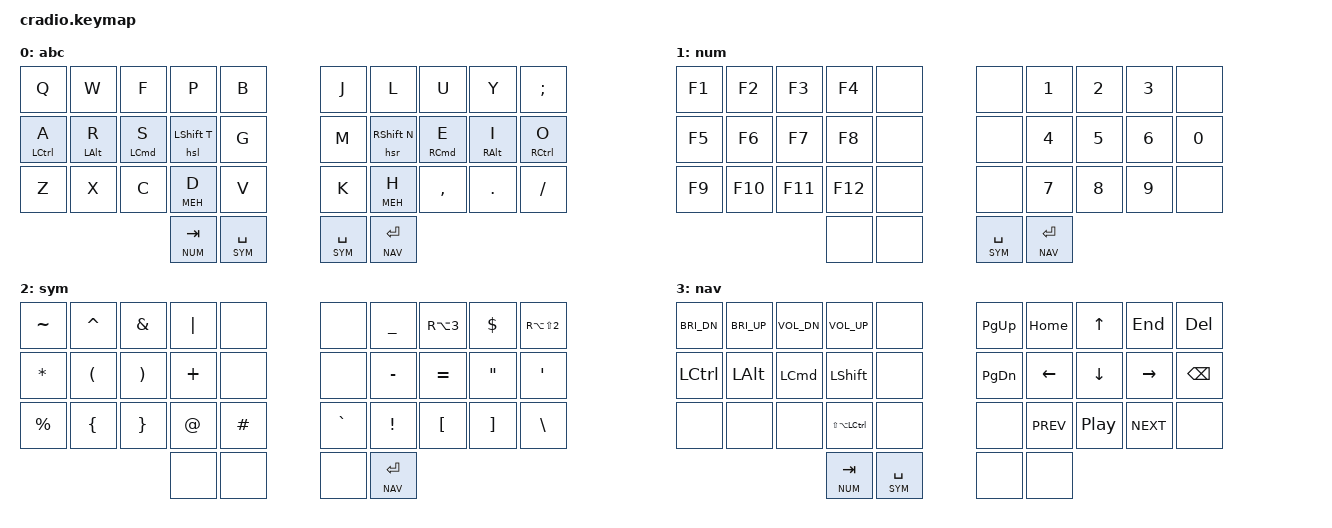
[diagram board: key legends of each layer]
#include <behaviors.dtsi>
#include <dt-bindings/zmk/keys.h>

/*
 *  ╭─────────────────────┬────────────────────╮
 *  │  0   1   2   3   4  │  5   6   7   8   9 │
 *  │ 10  11  12  13  14  │ 15  16  17  18  19 │
 *  │ 20  21  22  23  24  │ 25  26  27  28  29 │
 *  ╰───────────╮ 30  31  │ 32  33 ╭───────────╯
 *              ╰─────────┴────────╯
 */

#define LHS 0  1  2  3  4  \
            10 11 12 13 14 \
            20 21 22 23 24
#define RHS 5  6  7  8  9  \
            15 16 17 18 19 \
            25 26 27 28 29
#define TMB 30 31 32 33

#define DEFINE_HRM(_label, _name, _hold, _tap, _triggers, ...)  \
    _label: _name {                                             \
      compatible = "zmk,behavior-hold-tap";                     \
      #binding-cells = <2>;                                     \
      flavor = "balanced";                                      \
      tapping-term-ms = <200>;                                  \
      quick-tap-ms = <175>;                                     \
      bindings = <_hold>, <_tap>;                               \
      hold-trigger-key-positions = <_triggers>;                 \
      hold-trigger-on-release;                                  \
      __VA_ARGS__                                               \
    }

#define ___ &none

#define ABC 0
#define NUM 1
#define SYM 2
#define NAV 3

#define POUND &kp RA(N3)
#define EURO  &kp RA(LS(N2))

#define MEH LS(LA(LCTRL))

#define LCTRL_A &hml LCTRL A
#define LALT_R  &hml LALT  R
#define LCMD_S  &hml LCMD  S
#define LSHFT_T &hsl LSHFT T
#define MEH_D   &hml MEH   D

#define MEH_H   &hmr MEH   H
#define RSHFT_N &hsr RSHFT N
#define RCMD_E  &hmr RCMD  E
#define RALT_I  &hmr RALT  I
#define RCTRL_O &hmr RCTRL O

#define NUM_TAB   &lt NUM TAB
#define SYM_SPACE &lt SYM SPACE
#define NAV_RET   &lt NAV RET

&lt {
    flavor = "balanced";
    tapping-term-ms = <175>;
};

&caps_word {
    continue-list = <UNDER MINUS BSPC DEL>;
};

/ {
    combos {
        compatible = "zmk,combos";

        combo_esc {
            bindings = <&kp ESC>;
            key-positions = <1 2>;
            layers = <ABC>;
            timeout-ms = <50>;
            require-prior-idle-ms = <100>;
        };

        combo_caps_word {
            bindings = <&caps_word>;
            key-positions = <7 8>;
            layers = <ABC>;
            timeout-ms = <50>;
            require-prior-idle-ms = <100>;
        };

        combo_mute {
            bindings = <&kp C_MUTE>;
            key-positions = <2 3>;
            layers = <NAV>;
            timeout-ms = <50>;
            require-prior-idle-ms = <100>;
        };
    };

    keymap {
        compatible = "zmk,keymap";

        abc_layer {
            display-name = "abc";
            bindings = <
    &kp Q        &kp W        &kp F        &kp P        &kp B        &kp J     &kp L        &kp U      &kp Y        &kp SEMI
    LCTRL_A      LALT_R       LCMD_S       LSHFT_T      &kp G        &kp M     RSHFT_N      RCMD_E     RALT_I       RCTRL_O
    &kp Z        &kp X        &kp C        MEH_D        &kp V        &kp K     MEH_H        &kp COMMA  &kp DOT      &kp FSLH
                                           NUM_TAB      SYM_SPACE    SYM_SPACE NAV_RET
            >;
        };

        num_layer {
            display-name = "num";
            bindings = <
    &kp F1       &kp F2       &kp F3       &kp F4       ___          ___       &kp N1       &kp N2     &kp N3       ___
    &kp F5       &kp F6       &kp F7       &kp F8       ___          ___       &kp N4       &kp N5     &kp N6       &kp N0
    &kp F9       &kp F10      &kp F11      &kp F12      ___          ___       &kp N7       &kp N8     &kp N9       ___
                                           ___          ___          SYM_SPACE NAV_RET
            >;
        };

        sym_layer {
            display-name = "sym";
            bindings = <
    &kp TILDE    &kp CARET    &kp AMPS     &kp PIPE     ___          ___       &kp UNDER    POUND      &kp DLLR     EURO
    &kp STAR     &kp LPAR     &kp RPAR     &kp PLUS     ___          ___       &kp MINUS    &kp EQUAL  &kp DQT      &kp SQT
    &kp PRCNT    &kp LBRC     &kp RBRC     &kp AT       &kp HASH     &kp GRAVE &kp EXCL     &kp LBKT   &kp RBKT     &kp BSLH
                                           ___          ___          ___       NAV_RET
            >;
        };

        nav_layer {
            display-name = "nav";
            bindings = <
    &kp C_BRI_DN &kp C_BRI_UP &kp C_VOL_DN &kp C_VOL_UP ___          &kp PG_UP &kp HOME     &kp UP     &kp END      &kp DEL
    &kp LCTRL    &kp LALT     &kp LCMD     &kp LSHFT    ___          &kp PG_DN &kp LEFT     &kp DOWN   &kp RIGHT    &kp BSPC
    ___          ___          ___          &kp MEH      ___          ___       &kp C_PREV   &kp C_PP   &kp C_NEXT   ___
                                           NUM_TAB      SYM_SPACE    ___       ___
            >;
        };
    };

    behaviors {
        // homerow mods that are NOT the shift key
        DEFINE_HRM(hml, home_row_mod_left, &kp, &kp, RHS TMB,
            require-prior-idle-ms = <100>;
        );

        DEFINE_HRM(hmr, home_row_mod_right, &kp, &kp, LHS TMB,
            require-prior-idle-ms = <100>;
        );

        // homerow mods that ARE the shift key
        DEFINE_HRM(hsl, home_row_mod_for_shift_left, &kp, &kp, RHS TMB);
        DEFINE_HRM(hsr, home_row_mod_for_shift_right, &kp, &kp, LHS TMB);
    };
};

